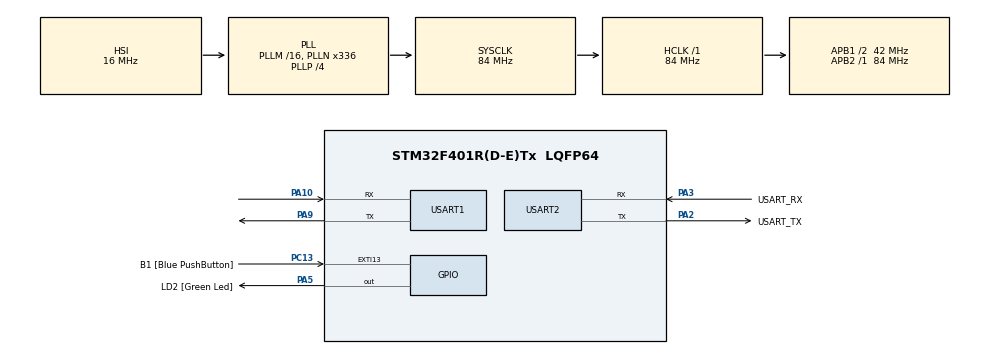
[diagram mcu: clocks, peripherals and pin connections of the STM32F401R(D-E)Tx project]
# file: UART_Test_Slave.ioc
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Mcu.Family=STM32F4
Mcu.Name=STM32F401R(D-E)Tx
Mcu.Package=LQFP64
NVIC.PriorityGroup=NVIC_PRIORITYGROUP_0
PA10.Mode=Asynchronous
PA10.Signal=USART1_RX
PA13.GPIO_Label=TMS
PA13.Mode=Serial_Wire
PA13.Signal=SYS_JTMS-SWDIO
PA14.GPIO_Label=TCK
PA14.Mode=Serial_Wire
PA14.Signal=SYS_JTCK-SWCLK
PA2.GPIO_Label=USART_TX
PA2.GPIO_Mode=GPIO_MODE_AF_PP
PA2.GPIO_PuPd=GPIO_NOPULL
PA2.GPIO_Speed=GPIO_SPEED_FREQ_LOW
PA2.Mode=Asynchronous
PA2.Signal=USART2_TX
PA3.GPIO_Label=USART_RX
PA3.GPIO_Mode=GPIO_MODE_AF_PP
PA3.GPIO_PuPd=GPIO_NOPULL
PA3.GPIO_Speed=GPIO_SPEED_FREQ_LOW
PA3.Mode=Asynchronous
PA3.Signal=USART2_RX
PA5.GPIO_Label=LD2 [Green Led]
PA5.GPIO_Mode=GPIO_MODE_OUTPUT_PP
PA5.GPIO_PuPd=GPIO_NOPULL
PA5.GPIO_Speed=GPIO_SPEED_FREQ_LOW
PA5.Signal=GPIO_Output
PA9.Mode=Asynchronous
PA9.Signal=USART1_TX
PB3.GPIO_Label=SWO
PB3.Signal=SYS_JTDO-SWO
PC13-ANTI_TAMP.GPIO_Label=B1 [Blue PushButton]
PC13-ANTI_TAMP.GPIO_ModeDefaultEXTI=GPIO_MODE_IT_FALLING
PC13-ANTI_TAMP.GPIO_PuPd=GPIO_NOPULL
PC13-ANTI_TAMP.Signal=GPXTI13
PC14-OSC32_IN.Mode=LSE-External-Oscillator
PC14-OSC32_IN.Signal=RCC_OSC32_IN
PC15-OSC32_OUT.Mode=LSE-External-Oscillator
PC15-OSC32_OUT.Signal=RCC_OSC32_OUT
PH0\ -\ OSC_IN.Mode=HSE-External-Clock-Source
PH0\ -\ OSC_IN.Signal=RCC_OSC_IN
PH1\ -\ OSC_OUT.Mode=HSE-External-Clock-Source
PH1\ -\ OSC_OUT.Signal=RCC_OSC_OUT
ProjectManager.HeapSize=0x200
ProjectManager.StackSize=0x400
ProjectManager.TargetToolchain=STM32CubeIDE
RCC.48MHZClocksFreq_Value=48000000
RCC.AHBFreq_Value=84000000
RCC.APB1CLKDivider=RCC_HCLK_DIV2
RCC.APB1Freq_Value=42000000
RCC.APB1TimFreq_Value=84000000
RCC.APB2Freq_Value=84000000
RCC.APB2TimFreq_Value=84000000
RCC.CortexFreq_Value=84000000
RCC.HCLKFreq_Value=84000000
RCC.HSE_VALUE=8000000
RCC.HSI_VALUE=16000000
RCC.PLLN=336
RCC.PLLP=RCC_PLLP_DIV4
RCC.PLLQ=7
RCC.SYSCLKFreq_VALUE=84000000
RCC.SYSCLKSource=RCC_SYSCLKSOURCE_PLLCLK
RCC.VCOOutputFreq_Value=336000000
USART1.VirtualMode=VM_ASYNC
USART2.VirtualMode=VM_ASYNC
board=NUCLEO-F401RE

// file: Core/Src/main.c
/* USER CODE BEGIN Header */
/**
  ******************************************************************************
  * @file           : main.c
  * @brief          : Main program body
  ******************************************************************************
  * @attention
  *
  * Copyright (c) 2024 STMicroelectronics.
  * All rights reserved.
  *
  * This software is licensed under terms that can be found in the LICENSE file
  * in the root directory of this software component.
  * If no LICENSE file comes with this software, it is provided AS-IS.
  *
  ******************************************************************************
  */
/* USER CODE END Header */
#include "main.h"

UART_HandleTypeDef huart1;
UART_HandleTypeDef huart2;

void SystemClock_Config(void);
static void MX_GPIO_Init(void);
static void MX_USART2_UART_Init(void);
static void MX_USART1_UART_Init(void);

/* USER CODE BEGIN 0 */

uint8_t rx_buff[10];

/* USER CODE END 0 */

int main(void)
{

  /* MCU Configuration--------------------------------------------------------*/

  /* Reset of all peripherals, Initializes the Flash interface and the Systick. */
  HAL_Init();

  /* Configure the system clock */
  SystemClock_Config();

  /* Initialize all configured peripherals */
  MX_GPIO_Init();
  MX_USART2_UART_Init();
  MX_USART1_UART_Init();

  /* Infinite loop */
  while (1)
  {

    /* USER CODE BEGIN 3 */
	if(HAL_UART_Receive(&huart1, rx_buff, 10, 1000)==HAL_OK) //if transfer is successful
	{
		HAL_GPIO_WritePin(GPIOA, GPIO_PIN_5, GPIO_PIN_SET); // Flash LED quickly for timeout
		HAL_Delay(100);
		HAL_GPIO_WritePin(GPIOA, GPIO_PIN_5, GPIO_PIN_RESET);
		HAL_Delay(100);
		HAL_GPIO_WritePin(GPIOA, GPIO_PIN_5, GPIO_PIN_SET); // Flash LED quickly for timeout
		HAL_Delay(100);
		HAL_GPIO_WritePin(GPIOA, GPIO_PIN_5, GPIO_PIN_RESET);
		HAL_Delay(100);
		HAL_GPIO_WritePin(GPIOA, GPIO_PIN_5, GPIO_PIN_SET); // Flash LED quickly for timeout
		HAL_Delay(100);
		HAL_GPIO_WritePin(GPIOA, GPIO_PIN_5, GPIO_PIN_RESET);
		HAL_Delay(100);
	} else {
		__NOP();
	}
  }
  /* USER CODE END 3 */
}

void SystemClock_Config(void)
{
  RCC_OscInitTypeDef RCC_OscInitStruct = {0};
  RCC_ClkInitTypeDef RCC_ClkInitStruct = {0};

  /** Configure the main internal regulator output voltage
  */
  __HAL_RCC_PWR_CLK_ENABLE();
  __HAL_PWR_VOLTAGESCALING_CONFIG(PWR_REGULATOR_VOLTAGE_SCALE2);

  /** Initializes the RCC Oscillators according to the specified parameters
  * in the RCC_OscInitTypeDef structure.
  */
  RCC_OscInitStruct.OscillatorType = RCC_OSCILLATORTYPE_HSI;
  RCC_OscInitStruct.HSIState = RCC_HSI_ON;
  RCC_OscInitStruct.HSICalibrationValue = RCC_HSICALIBRATION_DEFAULT;
  RCC_OscInitStruct.PLL.PLLState = RCC_PLL_ON;
  RCC_OscInitStruct.PLL.PLLSource = RCC_PLLSOURCE_HSI;
  RCC_OscInitStruct.PLL.PLLM = 16;
  RCC_OscInitStruct.PLL.PLLN = 336;
  RCC_OscInitStruct.PLL.PLLP = RCC_PLLP_DIV4;
  RCC_OscInitStruct.PLL.PLLQ = 7;
  if (HAL_RCC_OscConfig(&RCC_OscInitStruct) != HAL_OK)
  {
    Error_Handler();
  }

  /** Initializes the CPU, AHB and APB buses clocks
  */
  RCC_ClkInitStruct.ClockType = RCC_CLOCKTYPE_HCLK|RCC_CLOCKTYPE_SYSCLK
                              |RCC_CLOCKTYPE_PCLK1|RCC_CLOCKTYPE_PCLK2;
  RCC_ClkInitStruct.SYSCLKSource = RCC_SYSCLKSOURCE_PLLCLK;
  RCC_ClkInitStruct.AHBCLKDivider = RCC_SYSCLK_DIV1;
  RCC_ClkInitStruct.APB1CLKDivider = RCC_HCLK_DIV2;
  RCC_ClkInitStruct.APB2CLKDivider = RCC_HCLK_DIV1;

  if (HAL_RCC_ClockConfig(&RCC_ClkInitStruct, FLASH_LATENCY_2) != HAL_OK)
  {
    Error_Handler();
  }
}

static void MX_USART1_UART_Init(void)
{

  huart1.Instance = USART1;
  huart1.Init.BaudRate = 115200;
  huart1.Init.WordLength = UART_WORDLENGTH_8B;
  huart1.Init.StopBits = UART_STOPBITS_1;
  huart1.Init.Parity = UART_PARITY_NONE;
  huart1.Init.Mode = UART_MODE_TX_RX;
  huart1.Init.HwFlowCtl = UART_HWCONTROL_NONE;
  huart1.Init.OverSampling = UART_OVERSAMPLING_16;
  if (HAL_UART_Init(&huart1) != HAL_OK)
  {
    Error_Handler();
  }

}

static void MX_USART2_UART_Init(void)
{

  huart2.Instance = USART2;
  huart2.Init.BaudRate = 115200;
  huart2.Init.WordLength = UART_WORDLENGTH_8B;
  huart2.Init.StopBits = UART_STOPBITS_1;
  huart2.Init.Parity = UART_PARITY_NONE;
  huart2.Init.Mode = UART_MODE_TX_RX;
  huart2.Init.HwFlowCtl = UART_HWCONTROL_NONE;
  huart2.Init.OverSampling = UART_OVERSAMPLING_16;
  if (HAL_UART_Init(&huart2) != HAL_OK)
  {
    Error_Handler();
  }

}

static void MX_GPIO_Init(void)
{
  GPIO_InitTypeDef GPIO_InitStruct = {0};

  /* GPIO Ports Clock Enable */
  __HAL_RCC_GPIOC_CLK_ENABLE();
  __HAL_RCC_GPIOH_CLK_ENABLE();
  __HAL_RCC_GPIOA_CLK_ENABLE();
  __HAL_RCC_GPIOB_CLK_ENABLE();

  /*Configure GPIO pin Output Level */
  HAL_GPIO_WritePin(LD2_GPIO_Port, LD2_Pin, GPIO_PIN_RESET);

  /*Configure GPIO pin : B1_Pin */
  GPIO_InitStruct.Pin = B1_Pin;
  GPIO_InitStruct.Mode = GPIO_MODE_IT_FALLING;
  GPIO_InitStruct.Pull = GPIO_NOPULL;
  HAL_GPIO_Init(B1_GPIO_Port, &GPIO_InitStruct);

  /*Configure GPIO pin : LD2_Pin */
  GPIO_InitStruct.Pin = LD2_Pin;
  GPIO_InitStruct.Mode = GPIO_MODE_OUTPUT_PP;
  GPIO_InitStruct.Pull = GPIO_NOPULL;
  GPIO_InitStruct.Speed = GPIO_SPEED_FREQ_LOW;
  HAL_GPIO_Init(LD2_GPIO_Port, &GPIO_InitStruct);

}

void Error_Handler(void)
{
  __disable_irq();
  while (1)
  {
  }
}
